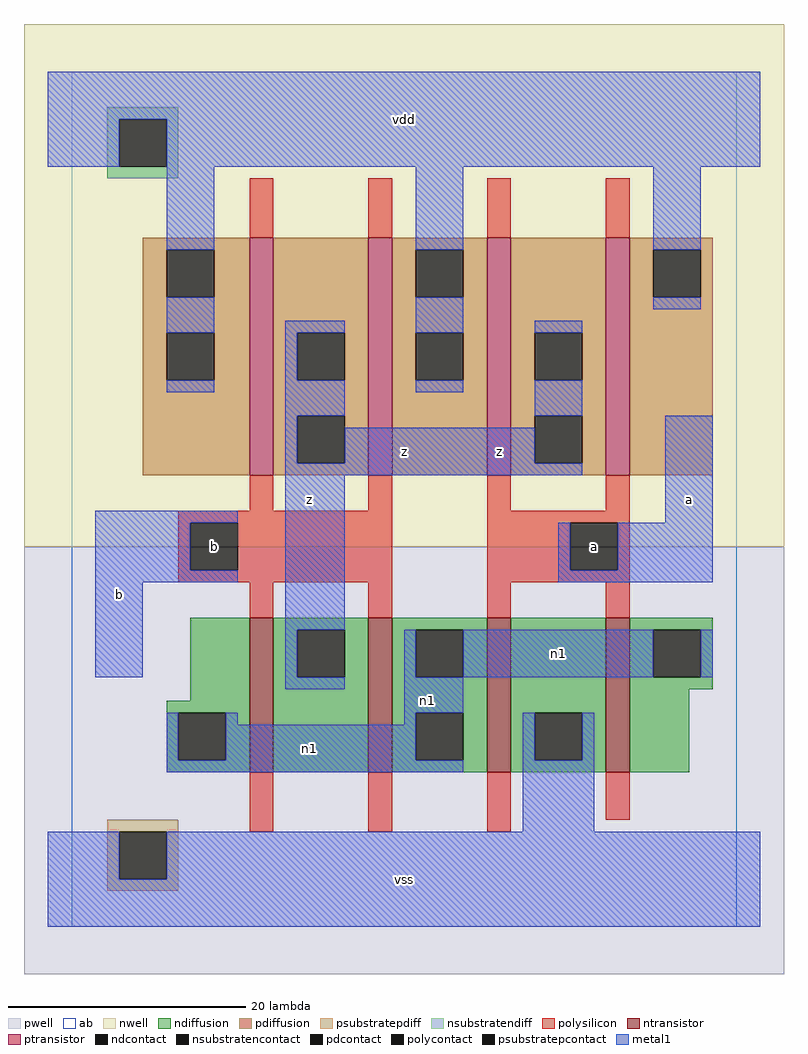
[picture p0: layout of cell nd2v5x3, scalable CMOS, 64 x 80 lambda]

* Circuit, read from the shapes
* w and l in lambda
.subckt nd2v5x3 a b n1 vdd vss z
M1 z b n1 vss nfet w=13 l=2 m=2
M2 vss a n1 vss nfet w=13 l=2 m=2
M3 z b vdd vdd pfet w=20 l=2 m=2
M4 z a vdd vdd pfet w=20 l=2 m=2
.ends

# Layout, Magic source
magic
tech scmos
<< ab >>
rect 0 0 56 72
<< pwell >>
rect -4 -4 60 32
<< nwell >>
rect -4 32 60 76
<< polysilicon >>
rect 15 58 17 63
rect 25 58 27 63
rect 35 58 37 63
rect 45 58 47 63
rect 15 35 17 38
rect 25 35 27 38
rect 9 34 27 35
rect 9 30 10 34
rect 14 30 27 34
rect 9 29 27 30
rect 15 26 17 29
rect 25 26 27 29
rect 35 35 37 38
rect 45 35 47 38
rect 35 34 47 35
rect 35 30 42 34
rect 46 30 47 34
rect 35 29 47 30
rect 35 26 37 29
rect 45 26 47 29
rect 15 8 17 13
rect 25 8 27 13
rect 35 8 37 13
rect 45 9 47 13
<< ndiffusion >>
rect 10 19 15 26
rect 8 18 15 19
rect 8 14 9 18
rect 13 14 15 18
rect 8 13 15 14
rect 17 25 25 26
rect 17 21 19 25
rect 23 21 25 25
rect 17 13 25 21
rect 27 25 35 26
rect 27 21 29 25
rect 33 21 35 25
rect 27 18 35 21
rect 27 14 29 18
rect 33 14 35 18
rect 27 13 35 14
rect 37 18 45 26
rect 37 14 39 18
rect 43 14 45 18
rect 37 13 45 14
rect 47 25 54 26
rect 47 21 49 25
rect 53 21 54 25
rect 47 20 54 21
rect 47 13 52 20
<< pdiffusion >>
rect 6 57 15 58
rect 6 53 8 57
rect 12 53 15 57
rect 6 50 15 53
rect 6 46 8 50
rect 12 46 15 50
rect 6 38 15 46
rect 17 50 25 58
rect 17 46 19 50
rect 23 46 25 50
rect 17 43 25 46
rect 17 39 19 43
rect 23 39 25 43
rect 17 38 25 39
rect 27 57 35 58
rect 27 53 29 57
rect 33 53 35 57
rect 27 50 35 53
rect 27 46 29 50
rect 33 46 35 50
rect 27 38 35 46
rect 37 50 45 58
rect 37 46 39 50
rect 43 46 45 50
rect 37 43 45 46
rect 37 39 39 43
rect 43 39 45 43
rect 37 38 45 39
rect 47 57 54 58
rect 47 53 49 57
rect 53 53 54 57
rect 47 38 54 53
<< metal1 >>
rect -2 68 58 72
rect -2 64 4 68
rect 8 64 58 68
rect 8 57 12 64
rect 8 50 12 53
rect 29 57 33 64
rect 8 45 12 46
rect 18 50 23 51
rect 18 46 19 50
rect 18 43 23 46
rect 29 50 33 53
rect 49 57 53 64
rect 49 52 53 53
rect 29 45 33 46
rect 39 50 43 51
rect 18 39 19 43
rect 39 43 43 46
rect 23 39 39 42
rect 18 38 43 39
rect 2 34 14 35
rect 2 30 10 34
rect 2 29 14 30
rect 2 21 6 29
rect 18 25 23 38
rect 50 34 54 43
rect 41 30 42 34
rect 46 30 54 34
rect 41 29 54 30
rect 18 21 19 25
rect 18 20 23 21
rect 28 21 29 25
rect 33 21 49 25
rect 53 21 54 25
rect 28 18 33 21
rect 8 14 9 18
rect 13 17 14 18
rect 28 17 29 18
rect 13 14 29 17
rect 8 13 33 14
rect 38 14 39 18
rect 43 14 44 18
rect 38 8 44 14
rect -2 4 4 8
rect 8 4 58 8
rect -2 0 58 4
<< ntransistor >>
rect 15 13 17 26
rect 25 13 27 26
rect 35 13 37 26
rect 45 13 47 26
<< ptransistor >>
rect 15 38 17 58
rect 25 38 27 58
rect 35 38 37 58
rect 45 38 47 58
<< polycontact >>
rect 10 30 14 34
rect 42 30 46 34
<< ndcontact >>
rect 9 14 13 18
rect 19 21 23 25
rect 29 21 33 25
rect 29 14 33 18
rect 39 14 43 18
rect 49 21 53 25
<< pdcontact >>
rect 8 53 12 57
rect 8 46 12 50
rect 19 46 23 50
rect 19 39 23 43
rect 29 53 33 57
rect 29 46 33 50
rect 39 46 43 50
rect 39 39 43 43
rect 49 53 53 57
<< psubstratepcontact >>
rect 4 4 8 8
<< nsubstratencontact >>
rect 4 64 8 68
<< psubstratepdiff >>
rect 3 8 9 9
rect 3 4 4 8
rect 8 4 9 8
rect 3 3 9 4
<< nsubstratendiff >>
rect 3 68 9 69
rect 3 64 4 68
rect 8 64 9 68
rect 3 63 9 64
<< labels >>
rlabel metal1 4 28 4 28 6 b
rlabel polycontact 12 32 12 32 6 b
rlabel metal1 20 36 20 36 6 z
rlabel metal1 28 4 28 4 6 vss
rlabel metal1 20 15 20 15 6 n1
rlabel metal1 30 19 30 19 6 n1
rlabel metal1 36 40 36 40 6 z
rlabel metal1 28 40 28 40 6 z
rlabel metal1 28 68 28 68 6 vdd
rlabel polycontact 44 32 44 32 6 a
rlabel metal1 41 23 41 23 6 n1
rlabel metal1 52 36 52 36 6 a
<< end >>
